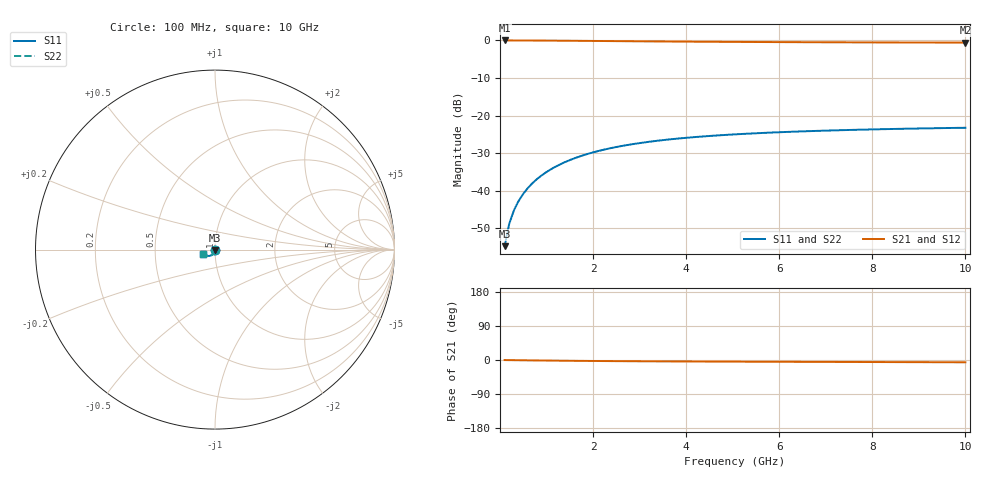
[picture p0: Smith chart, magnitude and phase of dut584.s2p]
! Touchstone file exported from HFSS 2024.1.0
!  File:  C:/UserFiles/LocalFiles/RDL_TSV_Batchsim/temp_TSV1_584_1779709538.aedt
!  Generated:  07:50:39 PM May 25, 2026
!  Design:  TSV1
!  Project:  temp_TSV1_584_1779709538
!  Setup:  Setup1
!  Solution:  Sweep
! Variables:
!  dtsv = 12.07um
!  hbump = 3um
!  htsv = 94.64um
!  lrdl = 252.1521522um
!  p = 40
!  p1 = 43.09um
!  t = 500um
!  trdl = 3um
!  wrdl = 24.89489489um
# GHz S MA R 50.000000
! Terminal data exported
! Port[1] = TSV22_T1
! Port[2] = TSV22_T2
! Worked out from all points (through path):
!   100 points, 100 MHz to 10 GHz, reference 50 ohm
!   highest |S21| = 0.00 dB at 100 MHz (marker M1); lowest = -0.6 dB at 10 GHz (marker M2)
!   lowest |S11| = -54.8 dB at 100 MHz (marker M3), VSWR 1.00, Z = 50 - j0.181 ohm
!   |S11| at or under -10 dB: start of sweep to end of sweep
!   |S22| runs from -54.8 to -23.3 dB; largest |S21 - S12| = 2.1e-15
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0.1  0.001816 -87.9  0.9998 -0.2  0.9998 -0.2  0.001816 -87.9
! Gamma 0 0 0 0
! Port Impedance 50 0 50 0
0.2  0.003628 -91.0  0.9997 -0.3  0.9997 -0.3  0.003628 -91.0
0.3  0.00544 -93.1  0.9994 -0.5  0.9994 -0.5  0.00544 -93.1
0.4  0.007246 -94.9  0.9991 -0.6  0.9991 -0.6  0.007246 -94.9
0.5  0.00904 -96.5  0.9986 -0.7  0.9986 -0.7  0.00904 -96.5
0.6  0.01082 -98.2  0.9981 -0.9  0.9981 -0.9  0.01082 -98.2
0.7  0.01257 -99.7  0.9975 -1.0  0.9975 -1.0  0.01257 -99.7
0.8  0.0143 -101.3  0.9968 -1.2  0.9968 -1.2  0.0143 -101.3
0.9  0.016 -102.8  0.9961 -1.3  0.9961 -1.3  0.016 -102.8
1.1  0.0193 -105.7  0.9944 -1.6  0.9944 -1.6  0.0193 -105.7
1.4  0.02398 -109.9  0.9916 -1.9  0.9916 -1.9  0.02398 -109.9
1.6  0.0269 -112.6  0.9895 -2.2  0.9895 -2.2  0.0269 -112.6
1.8  0.02966 -115.1  0.9873 -2.4  0.9873 -2.4  0.02966 -115.1
2.1  0.03348 -118.6  0.984 -2.7  0.984 -2.7  0.03348 -118.6
2.5  0.03803 -123.0  0.9795 -3.0  0.9795 -3.0  0.03803 -123.0
2.9  0.04199 -126.9  0.9751 -3.3  0.9751 -3.3  0.04199 -126.9
3.4  0.04622 -131.2  0.97 -3.6  0.97 -3.6  0.04622 -131.2
4.2  0.05166 -137.0  0.9628 -4.0  0.9628 -4.0  0.05166 -137.0
5.1  0.0563 -142.3  0.9561 -4.4  0.9561 -4.4  0.0563 -142.3
6.7  0.06206 -149.5  0.9471 -4.9  0.9471 -4.9  0.06206 -149.5
8.4  0.06607 -155.2  0.9405 -5.5  0.9405 -5.5  0.06607 -155.2
10  0.06867 -159.4  0.9361 -6.0  0.9361 -6.0  0.06867 -159.4
